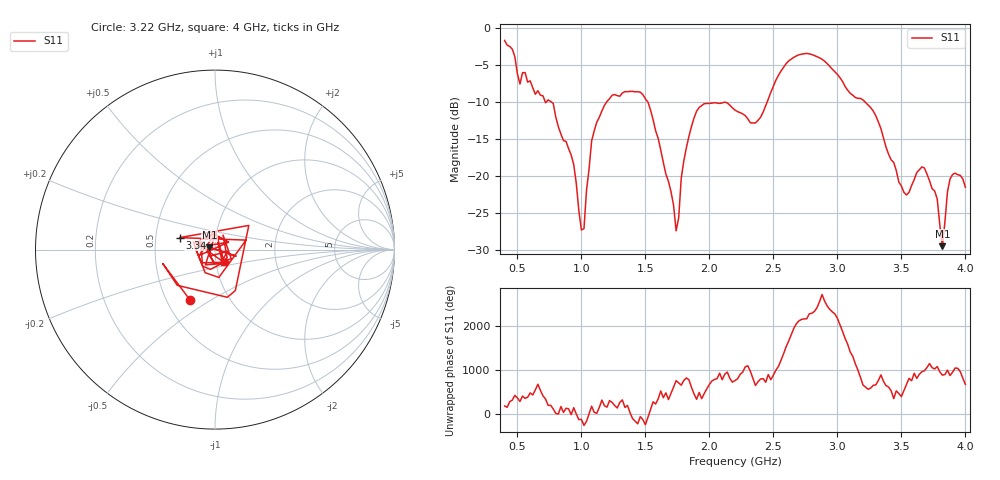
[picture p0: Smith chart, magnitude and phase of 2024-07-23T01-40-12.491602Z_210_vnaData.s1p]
!Created with skrf (http://scikit-rf.org).
# Hz S RI R 50.0
!freq ReS11 ImS11
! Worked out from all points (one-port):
!   181 points, 400 MHz to 4 GHz, reference 50 ohm
!   lowest |S11| = -29.5 dB at 3.82 GHz (marker M1), VSWR 1.07, Z = 47 + j1.23 ohm
!   |S11| at or under -10 dB: 764.3 MHz to 1.197 GHz (433.1 MHz wide, 44.2 % of centre); 1.519 GHz to 2.451 GHz (932.7 MHz wide, 47 % of centre); 3.216 GHz to end of sweep (the widest 3 of 4)
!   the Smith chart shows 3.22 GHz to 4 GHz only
!   S11 on the Smith chart (normalised r, x): 3.22 GHz: 0.66, -0.41; 3.34 GHz: 0.66, +0.09; 4 GHz: 1.10, -0.15
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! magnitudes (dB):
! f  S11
! 400 MHz  -1.7
! 520 MHz  -7.6
! 780 MHz  -10.2
! 860 MHz  -15.2
! 940 MHz  -18.5
! 1 GHz  -27.3
! 1.02 GHz  -27.1
! 1.1 GHz  -13.9
! 1.3 GHz  -9.2
! 1.52 GHz  -10.0
! 1.7 GHz  -22.1
! 1.74 GHz  -27.4
! 1.76 GHz  -25.7
! 1.8 GHz  -18.0
! 1.9 GHz  -11.3
! 2.2 GHz  -11.1
! 2.36 GHz  -12.8
! 2.66 GHz  -4.0
! 2.88 GHz  -4.2
! 3.1 GHz  -8.8
! 3.22 GHz  -10.1
! 3.34 GHz  -13.6
! 3.56 GHz  -22.2
! 3.68 GHz  -18.9
! 3.78 GHz  -23.1
! 3.82 GHz  -29.5
! 3.88 GHz  -20.4
! 4 GHz  -21.5
